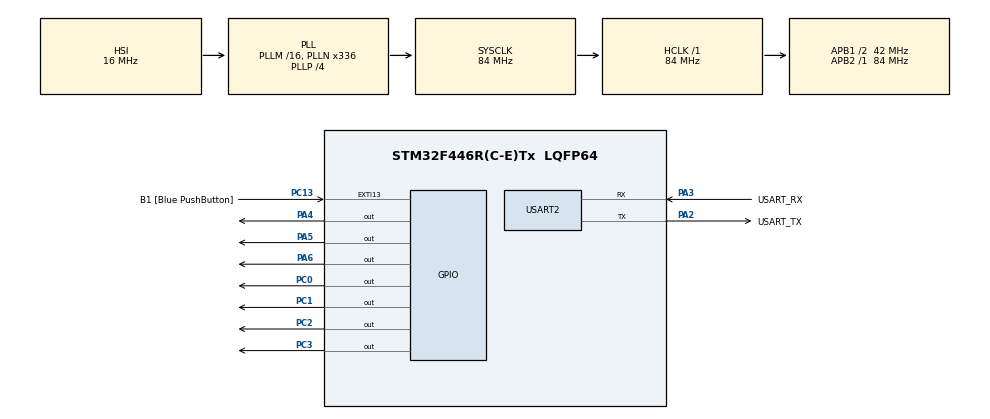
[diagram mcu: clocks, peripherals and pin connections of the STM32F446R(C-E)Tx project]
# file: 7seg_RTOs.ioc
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FREERTOS.Tasks01=toogle,0,128,loop_7seg,Default,NULL,Dynamic,NULL,NULL
FREERTOS.configUSE_NEWLIB_REENTRANT=1
Mcu.Family=STM32F4
Mcu.Name=STM32F446R(C-E)Tx
Mcu.Package=LQFP64
NVIC.PriorityGroup=NVIC_PRIORITYGROUP_4
NVIC.TIM3_IRQn=true\:15\:0\:false\:false\:true\:false\:false\:true\:true
NVIC.TimeBase=TIM3_IRQn
NVIC.TimeBaseIP=TIM3
PA13.GPIO_Label=TMS
PA13.Mode=Serial_Wire
PA13.Signal=SYS_JTMS-SWDIO
PA14.GPIO_Label=TCK
PA14.Mode=Serial_Wire
PA14.Signal=SYS_JTCK-SWCLK
PA2.GPIO_Label=USART_TX
PA2.Mode=Asynchronous
PA2.Signal=USART2_TX
PA3.GPIO_Label=USART_RX
PA3.Mode=Asynchronous
PA3.Signal=USART2_RX
PA4.Signal=GPIO_Output
PA5.Signal=GPIO_Output
PA6.Signal=GPIO_Output
PB3.GPIO_Label=SWO
PB3.Signal=SYS_JTDO-SWO
PC0.Signal=GPIO_Output
PC1.Signal=GPIO_Output
PC13.GPIO_Label=B1 [Blue PushButton]
PC13.GPIO_ModeDefaultEXTI=GPIO_MODE_IT_FALLING
PC13.Signal=GPXTI13
PC14-OSC32_IN.Mode=LSE-External-Oscillator
PC14-OSC32_IN.Signal=RCC_OSC32_IN
PC15-OSC32_OUT.Mode=LSE-External-Oscillator
PC15-OSC32_OUT.Signal=RCC_OSC32_OUT
PC2.Signal=GPIO_Output
PC3.Signal=GPIO_Output
PH0-OSC_IN.Mode=HSE-External-Oscillator
PH0-OSC_IN.Signal=RCC_OSC_IN
PH1-OSC_OUT.Mode=HSE-External-Oscillator
PH1-OSC_OUT.Signal=RCC_OSC_OUT
ProjectManager.HeapSize=0x200
ProjectManager.StackSize=0x400
ProjectManager.TargetToolchain=STM32CubeIDE
RCC.48MHZClocksFreq_Value=84000000
RCC.AHBFreq_Value=84000000
RCC.APB1CLKDivider=RCC_HCLK_DIV2
RCC.APB1Freq_Value=42000000
RCC.APB1TimFreq_Value=84000000
RCC.APB2Freq_Value=84000000
RCC.APB2TimFreq_Value=84000000
RCC.CortexFreq_Value=84000000
RCC.FLatency-AdvancedSettings=FLASH_LATENCY_2
RCC.HCLKFreq_Value=84000000
RCC.HSE_VALUE=8000000
RCC.HSI_VALUE=16000000
RCC.PLLN=336
RCC.PLLP=RCC_PLLP_DIV4
RCC.SYSCLKFreq_VALUE=84000000
RCC.SYSCLKSource=RCC_SYSCLKSOURCE_PLLCLK
RCC.USBFreq_Value=168000000
RCC.VCOOutputFreq_Value=336000000
USART2.VirtualMode=VM_ASYNC
VP_FREERTOS_VS_CMSIS_V1.Mode=CMSIS_V1
VP_SYS_VS_tim3.Mode=TIM3
board=NUCLEO-F446RE

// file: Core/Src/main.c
/* USER CODE BEGIN Header */
/**
  ******************************************************************************
  * @file           : main.c
  * @brief          : Main program body
  ******************************************************************************
  * @attention
  *
  * Copyright (c) 2024 STMicroelectronics.
  * All rights reserved.
  *
  * This software is licensed under terms that can be found in the LICENSE file
  * in the root directory of this software component.
  * If no LICENSE file comes with this software, it is provided AS-IS.
  *
  ******************************************************************************
  */
/* USER CODE END Header */
#include "main.h"
#include "cmsis_os.h"

UART_HandleTypeDef huart2;

osThreadId toogleHandle;

void SystemClock_Config(void);
static void MX_GPIO_Init(void);
static void MX_USART2_UART_Init(void);
void loop_7seg(void const * argument);

int main(void)
{

  /* MCU Configuration--------------------------------------------------------*/

  /* Reset of all peripherals, Initializes the Flash interface and the Systick. */
  HAL_Init();

  /* Configure the system clock */
  SystemClock_Config();

  /* Initialize all configured peripherals */
  MX_GPIO_Init();
  MX_USART2_UART_Init();

  /* Create the thread(s) */
  /* definition and creation of toogle */
  osThreadDef(toogle, loop_7seg, osPriorityNormal, 0, 256);
  toogleHandle = osThreadCreate(osThread(toogle), NULL);

  /* Start scheduler */
  osKernelStart();

  /* We should never get here as control is now taken by the scheduler */
  /* Infinite loop */
  while (1)
  {

  }
}

void SystemClock_Config(void)
{
  RCC_OscInitTypeDef RCC_OscInitStruct = {0};
  RCC_ClkInitTypeDef RCC_ClkInitStruct = {0};

  /** Configure the main internal regulator output voltage
  */
  __HAL_RCC_PWR_CLK_ENABLE();
  __HAL_PWR_VOLTAGESCALING_CONFIG(PWR_REGULATOR_VOLTAGE_SCALE3);

  /** Initializes the RCC Oscillators according to the specified parameters
  * in the RCC_OscInitTypeDef structure.
  */
  RCC_OscInitStruct.OscillatorType = RCC_OSCILLATORTYPE_HSI;
  RCC_OscInitStruct.HSIState = RCC_HSI_ON;
  RCC_OscInitStruct.HSICalibrationValue = RCC_HSICALIBRATION_DEFAULT;
  RCC_OscInitStruct.PLL.PLLState = RCC_PLL_ON;
  RCC_OscInitStruct.PLL.PLLSource = RCC_PLLSOURCE_HSI;
  RCC_OscInitStruct.PLL.PLLM = 16;
  RCC_OscInitStruct.PLL.PLLN = 336;
  RCC_OscInitStruct.PLL.PLLP = RCC_PLLP_DIV4;
  RCC_OscInitStruct.PLL.PLLQ = 2;
  RCC_OscInitStruct.PLL.PLLR = 2;
  if (HAL_RCC_OscConfig(&RCC_OscInitStruct) != HAL_OK)
  {
    Error_Handler();
  }

  /** Initializes the CPU, AHB and APB buses clocks
  */
  RCC_ClkInitStruct.ClockType = RCC_CLOCKTYPE_HCLK|RCC_CLOCKTYPE_SYSCLK
                              |RCC_CLOCKTYPE_PCLK1|RCC_CLOCKTYPE_PCLK2;
  RCC_ClkInitStruct.SYSCLKSource = RCC_SYSCLKSOURCE_PLLCLK;
  RCC_ClkInitStruct.AHBCLKDivider = RCC_SYSCLK_DIV1;
  RCC_ClkInitStruct.APB1CLKDivider = RCC_HCLK_DIV2;
  RCC_ClkInitStruct.APB2CLKDivider = RCC_HCLK_DIV1;

  if (HAL_RCC_ClockConfig(&RCC_ClkInitStruct, FLASH_LATENCY_2) != HAL_OK)
  {
    Error_Handler();
  }
}

static void MX_USART2_UART_Init(void)
{

  huart2.Instance = USART2;
  huart2.Init.BaudRate = 115200;
  huart2.Init.WordLength = UART_WORDLENGTH_8B;
  huart2.Init.StopBits = UART_STOPBITS_1;
  huart2.Init.Parity = UART_PARITY_NONE;
  huart2.Init.Mode = UART_MODE_TX_RX;
  huart2.Init.HwFlowCtl = UART_HWCONTROL_NONE;
  huart2.Init.OverSampling = UART_OVERSAMPLING_16;
  if (HAL_UART_Init(&huart2) != HAL_OK)
  {
    Error_Handler();
  }

}

static void MX_GPIO_Init(void)
{
  GPIO_InitTypeDef GPIO_InitStruct = {0};

  /* GPIO Ports Clock Enable */
  __HAL_RCC_GPIOC_CLK_ENABLE();
  __HAL_RCC_GPIOH_CLK_ENABLE();
  __HAL_RCC_GPIOA_CLK_ENABLE();
  __HAL_RCC_GPIOB_CLK_ENABLE();

  /*Configure GPIO pin Output Level */
  HAL_GPIO_WritePin(GPIOC, GPIO_PIN_0|GPIO_PIN_1|GPIO_PIN_2|GPIO_PIN_3, GPIO_PIN_RESET);

  /*Configure GPIO pin Output Level */
  HAL_GPIO_WritePin(GPIOA, GPIO_PIN_4|GPIO_PIN_5|GPIO_PIN_6, GPIO_PIN_RESET);

  /*Configure GPIO pin : B1_Pin */
  GPIO_InitStruct.Pin = B1_Pin;
  GPIO_InitStruct.Mode = GPIO_MODE_IT_FALLING;
  GPIO_InitStruct.Pull = GPIO_NOPULL;
  HAL_GPIO_Init(B1_GPIO_Port, &GPIO_InitStruct);

  /*Configure GPIO pins : PC0 PC1 PC2 PC3 */
  GPIO_InitStruct.Pin = GPIO_PIN_0|GPIO_PIN_1|GPIO_PIN_2|GPIO_PIN_3;
  GPIO_InitStruct.Mode = GPIO_MODE_OUTPUT_PP;
  GPIO_InitStruct.Pull = GPIO_NOPULL;
  GPIO_InitStruct.Speed = GPIO_SPEED_FREQ_LOW;
  HAL_GPIO_Init(GPIOC, &GPIO_InitStruct);

  /*Configure GPIO pins : PA4 PA5 PA6 */
  GPIO_InitStruct.Pin = GPIO_PIN_4|GPIO_PIN_5|GPIO_PIN_6;
  GPIO_InitStruct.Mode = GPIO_MODE_OUTPUT_PP;
  GPIO_InitStruct.Pull = GPIO_NOPULL;
  GPIO_InitStruct.Speed = GPIO_SPEED_FREQ_LOW;
  HAL_GPIO_Init(GPIOA, &GPIO_InitStruct);

}

void loop_7seg(void const * argument)
{
  /* USER CODE BEGIN 5 */
  /* Infinite loop */
  for(;;)
  {
	  //dispaly 0

	  	  	HAL_GPIO_WritePin(GPIOC, GPIO_PIN_0, RESET);
	  	  	HAL_GPIO_WritePin(GPIOC, GPIO_PIN_1, RESET);
	  	  	HAL_GPIO_WritePin(GPIOC, GPIO_PIN_2, RESET);
	  	  	HAL_GPIO_WritePin(GPIOC, GPIO_PIN_3, RESET);
	  	  	HAL_GPIO_WritePin(GPIOC, GPIO_PIN_4, RESET);
	  	  	HAL_GPIO_WritePin(GPIOC, GPIO_PIN_5, RESET);
	  	  	HAL_GPIO_WritePin(GPIOC, GPIO_PIN_6, SET);
	  	  	HAL_Delay(1000);

	  	  //display 1
	  	  	HAL_GPIO_WritePin(GPIOC, GPIO_PIN_0, SET);
	  	  	HAL_GPIO_WritePin(GPIOC, GPIO_PIN_1, RESET);
	  	  	HAL_GPIO_WritePin(GPIOC, GPIO_PIN_2, RESET);
	  	  	HAL_GPIO_WritePin(GPIOC, GPIO_PIN_3, SET);
	  	  	HAL_GPIO_WritePin(GPIOC, GPIO_PIN_4, SET);
	  	  	HAL_GPIO_WritePin(GPIOC, GPIO_PIN_5, SET);
	  	  	HAL_GPIO_WritePin(GPIOC, GPIO_PIN_6, SET);
	  	  	HAL_Delay(1000);

	  	  //dispaly 2

	  	  	HAL_GPIO_WritePin(GPIOC, GPIO_PIN_0, RESET);
	  	  	HAL_GPIO_WritePin(GPIOC, GPIO_PIN_1, RESET);
	  	  	HAL_GPIO_WritePin(GPIOC, GPIO_PIN_2, SET);
	  	  	HAL_GPIO_WritePin(GPIOC, GPIO_PIN_3, RESET);
	  	  	HAL_GPIO_WritePin(GPIOC, GPIO_PIN_4, RESET);
	  	  	HAL_GPIO_WritePin(GPIOC, GPIO_PIN_5, SET);
	  	  	HAL_GPIO_WritePin(GPIOC, GPIO_PIN_6, RESET);
	  	  	HAL_Delay(1000);

	  	  	  //display 3
	  	  	HAL_GPIO_WritePin(GPIOC, GPIO_PIN_0, RESET);
	  	  	HAL_GPIO_WritePin(GPIOC, GPIO_PIN_1, RESET);
	  	  	HAL_GPIO_WritePin(GPIOC, GPIO_PIN_2, RESET);
	  	  	HAL_GPIO_WritePin(GPIOC, GPIO_PIN_3, RESET);
	  	  	HAL_GPIO_WritePin(GPIOC, GPIO_PIN_4, SET);
	  	  	HAL_GPIO_WritePin(GPIOC, GPIO_PIN_5, SET);
	  	  	HAL_GPIO_WritePin(GPIOC, GPIO_PIN_6, RESET);
	  	  	HAL_Delay(1000);

	  	  	//display 4
	  	  	HAL_GPIO_WritePin(GPIOC, GPIO_PIN_0, SET);
	  	  	HAL_GPIO_WritePin(GPIOC, GPIO_PIN_1, RESET);
	  	  	HAL_GPIO_WritePin(GPIOC, GPIO_PIN_2, RESET);
	  	  	HAL_GPIO_WritePin(GPIOC, GPIO_PIN_3, SET);
	  	  	HAL_GPIO_WritePin(GPIOC, GPIO_PIN_4, SET);
	  	  	HAL_GPIO_WritePin(GPIOC, GPIO_PIN_5, RESET);
	  	  	HAL_GPIO_WritePin(GPIOC, GPIO_PIN_6, RESET);
	  	  	HAL_Delay(1000);

	  	  	//dispaly 5
	  	  	HAL_GPIO_WritePin(GPIOC, GPIO_PIN_0, RESET);
	  	  	HAL_GPIO_WritePin(GPIOC, GPIO_PIN_1, SET);
	  	  	HAL_GPIO_WritePin(GPIOC, GPIO_PIN_2, RESET);
	  	  	HAL_GPIO_WritePin(GPIOC, GPIO_PIN_3, RESET);
	  	  	HAL_GPIO_WritePin(GPIOC, GPIO_PIN_4, SET);
	  	  	HAL_GPIO_WritePin(GPIOC, GPIO_PIN_5, RESET);
	  	  	HAL_GPIO_WritePin(GPIOC, GPIO_PIN_6, RESET);
	  	  	HAL_Delay(1000);

	  	  	//dispaly 6
	  	  	HAL_GPIO_WritePin(GPIOC, GPIO_PIN_0, RESET);
	  	  	HAL_GPIO_WritePin(GPIOC, GPIO_PIN_1, SET);
	  	  	HAL_GPIO_WritePin(GPIOC, GPIO_PIN_2, RESET);
	  	  	HAL_GPIO_WritePin(GPIOC, GPIO_PIN_3, RESET);
	  	  	HAL_GPIO_WritePin(GPIOC, GPIO_PIN_4, RESET);
	  	  	HAL_GPIO_WritePin(GPIOC, GPIO_PIN_5, RESET);
	  	  	HAL_GPIO_WritePin(GPIOC, GPIO_PIN_6, RESET);
	  	  	HAL_Delay(1000);

	  	  	//dispaly 7
	  	  	HAL_GPIO_WritePin(GPIOC, GPIO_PIN_0, RESET);
	  	  	HAL_GPIO_WritePin(GPIOC, GPIO_PIN_1, RESET);
	  	  	HAL_GPIO_WritePin(GPIOC, GPIO_PIN_2, RESET);
	  	  	HAL_GPIO_WritePin(GPIOC, GPIO_PIN_3, SET);
	  	  	HAL_GPIO_WritePin(GPIOC, GPIO_PIN_4, SET);
	  	  	HAL_GPIO_WritePin(GPIOC, GPIO_PIN_5, SET);
	  	  	HAL_GPIO_WritePin(GPIOC, GPIO_PIN_6, SET);
	  	  	HAL_Delay(1000);

	  	  	//dispaly 8
	  	  	HAL_GPIO_WritePin(GPIOC, GPIO_PIN_0, RESET);
	  	  	HAL_GPIO_WritePin(GPIOC, GPIO_PIN_1, RESET);
	  	  	HAL_GPIO_WritePin(GPIOC, GPIO_PIN_2, RESET);
	  	  	HAL_GPIO_WritePin(GPIOC, GPIO_PIN_3, RESET);
	  	  	HAL_GPIO_WritePin(GPIOC, GPIO_PIN_4, RESET);
	  	  	HAL_GPIO_WritePin(GPIOC, GPIO_PIN_5, RESET);
	  	  	HAL_GPIO_WritePin(GPIOC, GPIO_PIN_6, RESET);
	  	  	HAL_Delay(1000);

	  	  //display 9
	  	  	HAL_GPIO_WritePin(GPIOC, GPIO_PIN_0, RESET);
	  	  	HAL_GPIO_WritePin(GPIOC, GPIO_PIN_1, RESET);
	  	  	HAL_GPIO_WritePin(GPIOC, GPIO_PIN_2, RESET);
	  	  	HAL_GPIO_WritePin(GPIOC, GPIO_PIN_3, RESET);
	  	  	HAL_GPIO_WritePin(GPIOC, GPIO_PIN_4, SET);
	  	  	HAL_GPIO_WritePin(GPIOC, GPIO_PIN_5, RESET);
	  	  	HAL_GPIO_WritePin(GPIOC, GPIO_PIN_6, RESET);
	  	  	HAL_Delay(1000);
    osDelay(1);
  }
  /* USER CODE END 5 */
}

void HAL_TIM_PeriodElapsedCallback(TIM_HandleTypeDef *htim)
{
  if (htim->Instance == TIM3) {
    HAL_IncTick();
  }
}

void Error_Handler(void)
{
  __disable_irq();
  while (1)
  {
  }
}
